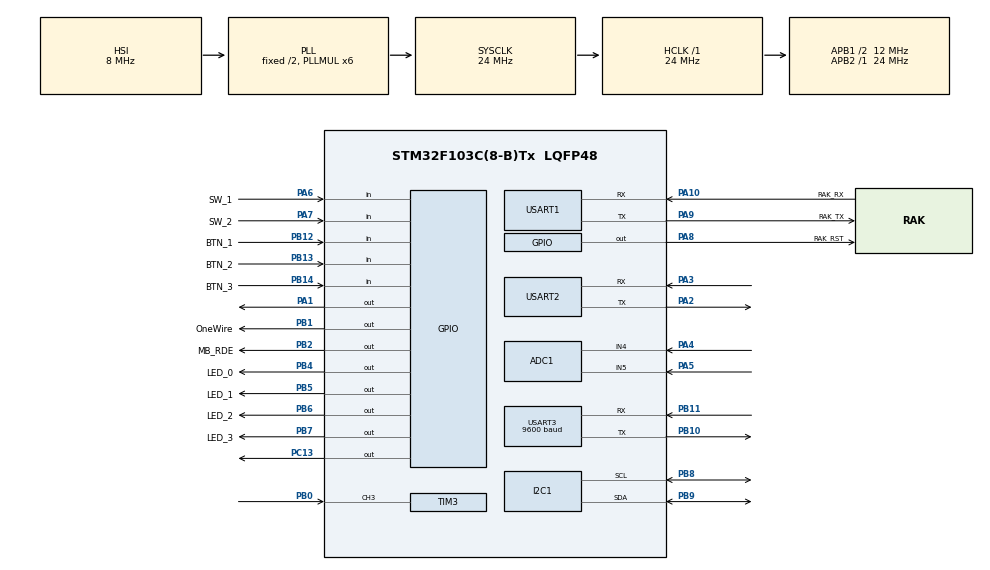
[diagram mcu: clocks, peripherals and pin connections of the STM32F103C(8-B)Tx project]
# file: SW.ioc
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ADC1.Channel-4\#ChannelRegularConversion=ADC_CHANNEL_4
ADC1.Channel-5\#ChannelRegularConversion=ADC_CHANNEL_5
ADC1.ContinuousConvMode=ENABLE
ADC1.DiscontinuousConvMode=DISABLE
ADC1.EnableRegularConversion=ENABLE
ADC1.NbrOfConversion=2
ADC1.NbrOfConversionFlag=1
ADC1.Rank-4\#ChannelRegularConversion=1
ADC1.Rank-5\#ChannelRegularConversion=2
ADC1.SamplingTime-4\#ChannelRegularConversion=ADC_SAMPLETIME_7CYCLES_5
ADC1.SamplingTime-5\#ChannelRegularConversion=ADC_SAMPLETIME_7CYCLES_5
ADC1.master=1
FREERTOS.HEAP_NUMBER=4
FREERTOS.MEMORY_ALLOCATION=2
FREERTOS.Tasks01=defaultTask,0,512,StartDefaultTask,Default,NULL,Static,defaultTaskBuffer,defaultTaskControlBlock
FREERTOS.configMAX_TASK_NAME_LEN=30
FREERTOS.configTOTAL_HEAP_SIZE=10240
FREERTOS.configUSE_TIMERS=1
I2C1.I2C_Mode=I2C_Standard
Mcu.Family=STM32F1
Mcu.Name=STM32F103C(8-B)Tx
Mcu.Package=LQFP48
NVIC.PriorityGroup=NVIC_PRIORITYGROUP_4
NVIC.RTC_IRQn=true\:5\:0\:false\:false\:true\:true\:true\:true
NVIC.TIM1_UP_IRQn=true\:0\:0\:false\:false\:true\:false\:false\:true
NVIC.TIM2_IRQn=true\:5\:0\:false\:false\:true\:true\:true\:true
NVIC.TIM3_IRQn=true\:5\:0\:false\:false\:true\:true\:true\:true
NVIC.TimeBase=TIM1_UP_IRQn
NVIC.TimeBaseIP=TIM1
NVIC.USART1_IRQn=true\:5\:0\:false\:false\:true\:true\:true\:true
NVIC.USART2_IRQn=true\:5\:0\:false\:false\:true\:true\:true\:true
NVIC.USART3_IRQn=true\:5\:0\:false\:false\:true\:true\:true\:true
PA1.Signal=GPIO_Output
PA10.GPIO_Label=RAK_RX
PA10.Mode=Asynchronous
PA10.Signal=USART1_RX
PA13.Mode=Serial_Wire
PA13.Signal=SYS_JTMS-SWDIO
PA14.Mode=Serial_Wire
PA14.Signal=SYS_JTCK-SWCLK
PA2.Mode=Asynchronous
PA2.Signal=USART2_TX
PA3.Mode=Asynchronous
PA3.Signal=USART2_RX
PA4.Signal=ADCx_IN4
PA5.Signal=ADCx_IN5
PA6.GPIO_Label=SW_1
PA6.Signal=GPIO_Input
PA7.GPIO_Label=SW_2
PA7.Signal=GPIO_Input
PA8.GPIO_Label=RAK_RST
PA8.PinState=GPIO_PIN_RESET
PA8.Signal=GPIO_Output
PA9.GPIO_Label=RAK_TX
PA9.Mode=Asynchronous
PA9.Signal=USART1_TX
PB0.Signal=S_TIM3_CH3
PB1.GPIO_Label=OneWire
PB1.Signal=GPIO_Output
PB10.Mode=Asynchronous
PB10.Signal=USART3_TX
PB11.Mode=Asynchronous
PB11.Signal=USART3_RX
PB12.GPIO_Label=BTN_1
PB12.GPIO_PuPd=GPIO_PULLUP
PB12.Signal=GPIO_Input
PB13.GPIO_Label=BTN_2
PB13.GPIO_PuPd=GPIO_PULLUP
PB13.Signal=GPIO_Input
PB14.GPIO_Label=BTN_3
PB14.GPIO_PuPd=GPIO_PULLUP
PB14.Signal=GPIO_Input
PB2.GPIO_Label=MB_RDE
PB2.GPIO_PuPd=GPIO_PULLUP
PB2.Signal=GPIO_Output
PB4.GPIO_Label=LED_0
PB4.Signal=GPIO_Output
PB5.GPIO_Label=LED_1
PB5.Signal=GPIO_Output
PB6.GPIO_Label=LED_2
PB6.Signal=GPIO_Output
PB7.GPIO_Label=LED_3
PB7.Signal=GPIO_Output
PB8.Mode=I2C
PB8.Signal=I2C1_SCL
PB9.Mode=I2C
PB9.Signal=I2C1_SDA
PC13-TAMPER-RTC.Signal=GPIO_Output
PC14-OSC32_IN.Mode=LSE-External-Oscillator
PC14-OSC32_IN.Signal=RCC_OSC32_IN
PC15-OSC32_OUT.Mode=LSE-External-Oscillator
PC15-OSC32_OUT.Signal=RCC_OSC32_OUT
PD0-OSC_IN.Mode=HSE-External-Oscillator
PD0-OSC_IN.Signal=RCC_OSC_IN
PD1-OSC_OUT.Mode=HSE-External-Oscillator
PD1-OSC_OUT.Signal=RCC_OSC_OUT
ProjectManager.HeapSize=0x200
ProjectManager.StackSize=0x400
ProjectManager.TargetToolchain=SW4STM32
RCC.AHBFreq_Value=24000000
RCC.APB1CLKDivider=RCC_HCLK_DIV2
RCC.APB1Freq_Value=12000000
RCC.APB1TimFreq_Value=24000000
RCC.APB2Freq_Value=24000000
RCC.APB2TimFreq_Value=24000000
RCC.DATA_CACHE_ENABLE=1
RCC.HCLKFreq_Value=24000000
RCC.HSE_VALUE=12000000
RCC.INSTRUCTION_CACHE_ENABLE=1
RCC.PLLMUL=RCC_PLL_MUL6
RCC.PWR_Regulator_Voltage_Scale=PWR_REGULATOR_VOLTAGE_SCALE1
RCC.RTCClockSelection=RCC_RTCCLKSOURCE_LSE
RCC.SYSCLKFreq_VALUE=24000000
RCC.SYSCLKSource=RCC_SYSCLKSOURCE_PLLCLK
RCC.USBFreq_Value=24000000
SH.ADCx_IN4.0=ADC1_IN4,IN4
SH.ADCx_IN5.0=ADC1_IN5,IN5
SH.S_TIM3_CH3.0=TIM3_CH3,Input_Capture3_from_TI3
TIM2.Period=49
TIM2.Prescaler=23
TIM3.Channel-Input_Capture3_from_TI3=TIM_CHANNEL_3
TIM3.Period=0xffff-1
TIM3.Prescaler=0
TIM4.Period=0xffff -1
TIM4.Prescaler=24-1
USART1.VirtualMode=VM_ASYNC
USART2.VirtualMode=VM_ASYNC
USART3.BaudRate=9600
USART3.VirtualMode=VM_ASYNC
VP_ADC1_TempSens_Input.Mode=IN-TempSens
VP_FREERTOS_VS_CMSIS_V1.Mode=CMSIS_V1
VP_RTC_No_RTC_Output.Mode=RTC_OUT_NO
VP_RTC_VS_RTC_Activate.Mode=RTC_Enabled
VP_SYS_VS_tim1.Mode=TIM1
VP_TIM2_VS_ClockSourceINT.Mode=Internal
VP_TIM3_VS_ClockSourceINT.Mode=Internal
VP_TIM4_VS_ClockSourceINT.Mode=Internal
board=custom

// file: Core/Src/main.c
/* USER CODE BEGIN Header */
/**
 ******************************************************************************
 * @file           : main.c
 * @brief          : Main program body
 ******************************************************************************
 * @attention
 *
 * <h2><center>&copy; Copyright (c) 2020 STMicroelectronics.
 * All rights reserved.</center></h2>
 *
 * This software component is licensed by ST under Ultimate Liberty license
 * SLA0044, the "License"; You may not use this file except in compliance with
 * the License. You may obtain a copy of the License at:
 *                             www.st.com/SLA0044
 *
 ******************************************************************************
 */
/* USER CODE END Header */

#include "main.h"
#include "cmsis_os.h"
#include "adc.h"
#include "i2c.h"
#include "rtc.h"
#include "tim.h"
#include "usart.h"
#include "gpio.h"

/* USER CODE BEGIN Includes */
#include "param.h"
/* USER CODE END Includes */

/* USER CODE BEGIN PV */
uint8_t PRINTF_EN = 1;
/* USER CODE END PV */

void SystemClock_Config(void);
void MX_FREERTOS_Init(void);
/* USER CODE BEGIN PFP */
void v_led_start(void);
/* USER CODE END PFP */

int main(void)
{

  /* MCU Configuration--------------------------------------------------------*/

  /* Reset of all peripherals, Initializes the Flash interface and the Systick. */
  HAL_Init();

  /* Configure the system clock */
  SystemClock_Config();

  /* Initialize all configured peripherals */
  MX_GPIO_Init();
  MX_ADC1_Init();
  MX_USART1_UART_Init();
  MX_USART2_UART_Init();
  MX_USART3_UART_Init();
  MX_TIM4_Init();
  MX_TIM3_Init();
  MX_I2C1_Init();
  MX_TIM2_Init();
  MX_RTC_Init();
  /* USER CODE BEGIN 2 */
//	HAL_I2C_MspInit(&hi2c1);
//	v_led_start();

	HAL_GPIO_WritePin(GPIOA, GPIO_PIN_8, RESET);
	HAL_Delay(10);
	HAL_GPIO_WritePin(GPIOA, GPIO_PIN_8, SET);
//while(1);
	/*Force to enable periphral manually */
	char *p = "NTT \r\n";
//	HAL_TIM_Base_Start(&htim4);  //delay_us => move to DHT when it is called to reduce power consuming
//
	__HAL_UART_ENABLE_IT(&huart2, UART_IT_RXNE);
//	 HAL_TIM_Base_Start(&htim3);
	/* Run the ADC calibration */
//	if (HAL_ADCEx_Calibration_Start(&hadc1) != HAL_OK) {
//		/* Calibration Error */
//		Error_Handler();
//	}
//  HAL_Delay(101);
//  HAL_UART_Transmit(&huart1,p,6,100);
//  HAL_UART_Transmit(&huart3,p,6,100);
	printf("---------- IOT Node ----------  \r\n");
	/*Load pre-paramter from eepROm*/
	printf(" Loading pre-configuration from EEPROM !!  \r\n");
	v_epr_load(PARAM_LOAD_ALL);
	if (PARAM[NODE_HAVE_PARAM_ADR] != NO_PARAM) {

		/* Found pre-param from eeprom and apply it*/
		printf(" pre-configuration from EEPROM: %d  \r\n",
				PARAM[NODE_HAVE_PARAM_ADR]);
		//USER_USART3_UART_Init(); // Modbus re-config
		/*Todo: LORAWAN*/

	} else
	{
		printf(
				" Fail to find pre-configuration. Load defaul config instead.  \r\n");
		/* Load default config**/
		PARAM[NODE_HAVE_PARAM_ADR] = FLASH_PARAM;
		PARAM[NODE_ID_ADR] = NODE_ID_ADR_DEFAULT;
		PARAM[NODE_MB_ID_ADR] = NODE_MB_ID_DEFAULT;

//		PARAM[15] = 69;
//		PARAM[16] = 96;
		PARAM[NODE_LRWAN_DATARATE_ADR] = NODE_LRWAN_DATARATE_DEFAULT;
		PARAM[NODE_LRWAN_CLASS_ADR] = NODE_LRWAN_CLASS_DEFAULT;
		PARAM[NODE_LRWAN_FREQ_ADR] = NODE_LRWAN_FREQ_DEFAULT;
		PARAM[NODE_LRWAN_CONFIRM_ADR] = NODE_LRWAN_CONFIRM_DEFAULT;
		PARAM[NODE_LRWAN_MODE_ADR] = NODE_LRWAN_MODE_DEFAULT;
		PARAM[NODE_LRWAN_TX_POWER_ADR] =NODE_LRWAN_TX_POWER_DEFAULT ;

		PARAM[NODE_IO_PORT_0_ADR] = NODE_IO_PORT_0_DEFAULT;
		PARAM[NODE_IO_PORT_0_ADR + 1] = 0x00;
		PARAM[NODE_IO_PORT_1_ADR] = NODE_IO_PORT_1_DEFAULT;
		PARAM[NODE_IO_PORT_1_ADR + 1] = 0x01;
		PARAM[NODE_IO_PORT_2_ADR] = NODE_IO_PORT_2_DEFAULT;
		PARAM[NODE_IO_PORT_2_ADR + 1] = 0x02;
		PARAM[NODE_IO_PORT_3_ADR] = NODE_IO_PORT_3_DEFAULT;
		PARAM[NODE_IO_PORT_3_ADR + 1] = 0x03;
		PARAM[NODE_IO_PORT_4_ADR] = NODE_IO_PORT_4_DEFAULT;
		PARAM[NODE_IO_PORT_4_ADR + 1] = 0x04;
		PARAM[NODE_IO_PORT_5_ADR] = NODE_IO_PORT_5_DEFAULT;
		PARAM[NODE_IO_PORT_5_ADR + 1] = 0x05;
		v_epr_save(PARAM_LOAD_ALL);
//		memset(PARAM,0,120);
///
		/*Notify to the Led and jump in to vAppConfiguationTask !!**/

	}
	v_epr_load(PARAM_LOAD_ALL);
//	for (uint8_t paramIndex = 0; paramIndex < 120; paramIndex++) {
//		DBG("ParamLoaded %d: %d \r\n", paramIndex, PARAM[paramIndex]);
//		HAL_Delay(10);
//	}
	printf("Booting to RTOS   \r\n");
  /* USER CODE END 2 */

  /* Call init function for freertos objects (in freertos.c) */
  MX_FREERTOS_Init();
  /* Start scheduler */
  osKernelStart();

  /* We should never get here as control is now taken by the scheduler */
  /* Infinite loop */
	while (1) {

	}
}

void SystemClock_Config(void)
{
  RCC_OscInitTypeDef RCC_OscInitStruct = {0};
  RCC_ClkInitTypeDef RCC_ClkInitStruct = {0};
  RCC_PeriphCLKInitTypeDef PeriphClkInit = {0};

  /** Initializes the CPU, AHB and APB busses clocks
  */
  RCC_OscInitStruct.OscillatorType = RCC_OSCILLATORTYPE_HSI|RCC_OSCILLATORTYPE_LSE;
  RCC_OscInitStruct.LSEState = RCC_LSE_ON;
  RCC_OscInitStruct.HSIState = RCC_HSI_ON;
  RCC_OscInitStruct.HSICalibrationValue = RCC_HSICALIBRATION_DEFAULT;
  RCC_OscInitStruct.PLL.PLLState = RCC_PLL_ON;
  RCC_OscInitStruct.PLL.PLLSource = RCC_PLLSOURCE_HSI_DIV2;
  RCC_OscInitStruct.PLL.PLLMUL = RCC_PLL_MUL6;
  if (HAL_RCC_OscConfig(&RCC_OscInitStruct) != HAL_OK)
  {
    Error_Handler();
  }
  /** Initializes the CPU, AHB and APB busses clocks
  */
  RCC_ClkInitStruct.ClockType = RCC_CLOCKTYPE_HCLK|RCC_CLOCKTYPE_SYSCLK
                              |RCC_CLOCKTYPE_PCLK1|RCC_CLOCKTYPE_PCLK2;
  RCC_ClkInitStruct.SYSCLKSource = RCC_SYSCLKSOURCE_PLLCLK;
  RCC_ClkInitStruct.AHBCLKDivider = RCC_SYSCLK_DIV1;
  RCC_ClkInitStruct.APB1CLKDivider = RCC_HCLK_DIV2;
  RCC_ClkInitStruct.APB2CLKDivider = RCC_HCLK_DIV1;

  if (HAL_RCC_ClockConfig(&RCC_ClkInitStruct, FLASH_LATENCY_0) != HAL_OK)
  {
    Error_Handler();
  }
  PeriphClkInit.PeriphClockSelection = RCC_PERIPHCLK_RTC|RCC_PERIPHCLK_ADC;
  PeriphClkInit.RTCClockSelection = RCC_RTCCLKSOURCE_LSE;
  PeriphClkInit.AdcClockSelection = RCC_ADCPCLK2_DIV2;
  if (HAL_RCCEx_PeriphCLKConfig(&PeriphClkInit) != HAL_OK)
  {
    Error_Handler();
  }
}

/* USER CODE BEGIN 4 */
void delay_us(uint32_t time) {
	/* */
	__HAL_TIM_SET_COUNTER(&htim4, 0);
	while (__HAL_TIM_GET_COUNTER(&htim4) < time);
}

/* USER CODE BEGIN 4 */
PUTCHAR_PROTOTYPE {
	/* Place your implementation of fputc here */
	/* e.g. write a character to the USART */
//  USART_SendData(EVAL_COM1, (uint8_t) ch);
	HAL_UART_Transmit(&huart2, (uint8_t *) &ch, 1, 0xFFFF);

	/* Loop until the end of transmission */
//  while (USART_GetFlagStatus(EVAL_COM1, USART_FLAG_TC) == RESET)
//  {}
	return ch;
}

void v_led_start(void) {

	for (uint8_t num = 0; num < 15; num++) {
		HAL_GPIO_TogglePin(LED_0_GPIO_Port, LED_3_Pin);
		HAL_Delay(50);
		HAL_GPIO_TogglePin(LED_0_GPIO_Port, LED_2_Pin);
		HAL_Delay(50);
		HAL_GPIO_TogglePin(LED_0_GPIO_Port, LED_1_Pin);
		HAL_Delay(50);
		HAL_GPIO_TogglePin(LED_0_GPIO_Port, LED_0_Pin);
		HAL_Delay(50);

	}
}
/* USER CODE END 4 */

 /**
  * @brief  Period elapsed callback in non blocking mode
  * @note   This function is called  when TIM1 interrupt took place, inside
  * HAL_TIM_IRQHandler(). It makes a direct call to HAL_IncTick() to increment
  * a global variable "uwTick" used as application time base.
  * @param  htim : TIM handle
  * @retval None
  */
void HAL_TIM_PeriodElapsedCallback(TIM_HandleTypeDef *htim)
{
  if (htim->Instance == TIM1) {
    HAL_IncTick();
  }
}

void Error_Handler(void)
{
}

/************************ (C) COPYRIGHT STMicroelectronics *****END OF FILE****/

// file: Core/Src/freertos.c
/* USER CODE BEGIN Header */
/**
 ******************************************************************************
 * File Name          : freertos.c
 * Description        : Code for freertos applications
 ******************************************************************************
 * @attention
 *
 * <h2><center>&copy; Copyright (c) 2020 STMicroelectronics.
 * All rights reserved.</center></h2>
 *
 * This software component is licensed by ST under Ultimate Liberty license
 * SLA0044, the "License"; You may not use this file except in compliance with
 * the License. You may obtain a copy of the License at:
 *                             www.st.com/SLA0044
 *
 ******************************************************************************
 */
/* USER CODE END Header */

#include "FreeRTOS.h"
#include "task.h"
#include "main.h"
#include "cmsis_os.h"

/* USER CODE BEGIN Includes */
#include "app.h"
#include "mb.h"
#include "mbport.h"
#include "param.h"
/* USER CODE END Includes */

/* USER CODE BEGIN Variables */
osTimerId myTimer01Handle;
/* USER CODE END Variables */
osThreadId defaultTaskHandle;
uint32_t defaultTaskBuffer[ 512 ];
osStaticThreadDef_t defaultTaskControlBlock;

/* USER CODE BEGIN FunctionPrototypes */
void Callback01(void);
/* USER CODE END FunctionPrototypes */

void StartDefaultTask(void const * argument);

void MX_FREERTOS_Init(void); /* (MISRA C 2004 rule 8.1) */

/* GetIdleTaskMemory prototype (linked to static allocation support) */
void vApplicationGetIdleTaskMemory( StaticTask_t **ppxIdleTaskTCBBuffer, StackType_t **ppxIdleTaskStackBuffer, uint32_t *pulIdleTaskStackSize );

/* GetTimerTaskMemory prototype (linked to static allocation support) */
void vApplicationGetTimerTaskMemory( StaticTask_t **ppxTimerTaskTCBBuffer, StackType_t **ppxTimerTaskStackBuffer, uint32_t *pulTimerTaskStackSize );

/* USER CODE BEGIN GET_IDLE_TASK_MEMORY */
static StaticTask_t xIdleTaskTCBBuffer;
static StackType_t xIdleStack[configMINIMAL_STACK_SIZE];

void vApplicationGetIdleTaskMemory(StaticTask_t **ppxIdleTaskTCBBuffer,
		StackType_t **ppxIdleTaskStackBuffer, uint32_t *pulIdleTaskStackSize) {
	*ppxIdleTaskTCBBuffer = &xIdleTaskTCBBuffer;
	*ppxIdleTaskStackBuffer = &xIdleStack[0];
	*pulIdleTaskStackSize = configMINIMAL_STACK_SIZE;
	/* place for user code */
}
/* USER CODE END GET_IDLE_TASK_MEMORY */

/* USER CODE BEGIN GET_TIMER_TASK_MEMORY */
static StaticTask_t xTimerTaskTCBBuffer;
static StackType_t xTimerStack[configTIMER_TASK_STACK_DEPTH];

void vApplicationGetTimerTaskMemory( StaticTask_t **ppxTimerTaskTCBBuffer, StackType_t **ppxTimerTaskStackBuffer, uint32_t *pulTimerTaskStackSize )
{
  *ppxTimerTaskTCBBuffer = &xTimerTaskTCBBuffer;
  *ppxTimerTaskStackBuffer = &xTimerStack[0];
  *pulTimerTaskStackSize = configTIMER_TASK_STACK_DEPTH;
  /* place for user code */
}
/* USER CODE END GET_TIMER_TASK_MEMORY */

void MX_FREERTOS_Init(void) {

  /* USER CODE BEGIN RTOS_TIMERS */
	/* start timers, add new ones, ... */
//	  osTimerDef(myTimer01, Callback01);
//	  myTimer01Handle = osTimerCreate(osTimer(myTimer01), osTimerPeriodic, NULL);
  /* USER CODE END RTOS_TIMERS */

  /* Create the thread(s) */
  /* definition and creation of defaultTask */
  osThreadStaticDef(defaultTask, StartDefaultTask, osPriorityNormal, 0, 512, defaultTaskBuffer, &defaultTaskControlBlock);
  defaultTaskHandle = osThreadCreate(osThread(defaultTask), NULL);

}

void StartDefaultTask(void const * argument)
{
  /* USER CODE BEGIN StartDefaultTask */
	/*Jump to app layer*/
	vAppDefault();

	if (u_mem_get(NODE_HAVE_PARAM_ADR) == TRUE) {
		/*Start node normally*/
		vAppDefault();
	} else {
		vAppConfiguration();
	}

	/* Infinite loop */
	for (;;) {
		osDelay(1);
	}
  /* USER CODE END StartDefaultTask */
}

/* USER CODE BEGIN Application */
void Callback01(void) {
	pxMBPortCBTimerExpired();
}
/* USER CODE END Application */

/************************ (C) COPYRIGHT STMicroelectronics *****END OF FILE****/
